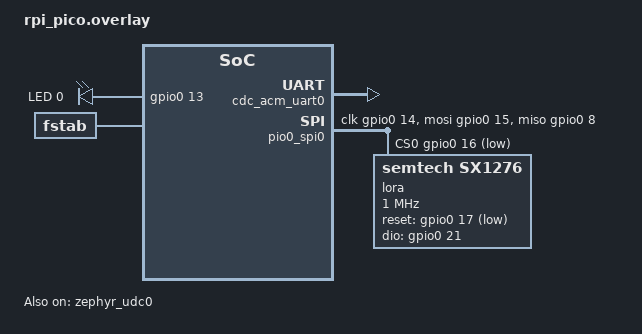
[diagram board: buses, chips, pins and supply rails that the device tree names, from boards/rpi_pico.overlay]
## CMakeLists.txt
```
cmake_minimum_required(VERSION 3.13.1)

find_package(Zephyr REQUIRED HINTS $ENV{ZEPHYR_BASE})
project(app)

target_include_directories(app PRIVATE ${ZEPHYR_BASE}/../modules/fs/littlefs)
target_include_directories(app PRIVATE ../modules/quanta-modbus)
FILE(GLOB_RECURSE app_sources src/*.c)
target_sources(app PRIVATE ${app_sources})

zephyr_cc_option(-Wfatal-errors)
zephyr_cc_option(-Wall)
```

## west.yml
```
manifest:
  remotes:
    - name: zephyrproject
      url-base: https://github.com/zephyrproject-rtos
  projects:
    - name: zephyr
      repo-path: zephyr
      remote: zephyrproject
      revision: main
      clone-depth: 1
      import:
        path-prefix: external
        name-allowlist:
          - cmsis
          - cmsis-dsp
          - picolibc
          - segger
          - hal_rpi_pico
          - loramac-node
          - littlefs
```

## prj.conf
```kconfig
# Debugging
CONFIG_THREAD_MONITOR=y
CONFIG_THREAD_STACK_INFO=y
CONFIG_THREAD_NAME=y

CONFIG_THREAD_ANALYZER=n
CONFIG_THREAD_ANALYZER_USE_LOG=y
CONFIG_THREAD_ANALYZER_AUTO=y
CONFIG_THREAD_ANALYZER_AUTO_INTERVAL=5

CONFIG_FS_LOG_LEVEL_ERR=y         # LittleFS
CONFIG_SETTINGS_LOG_LEVEL_ERR=y   # Settings
CONFIG_USB_DRIVER_LOG_LEVEL_ERR=y # USB Driver
CONFIG_LORA_LOG_LEVEL_ERR=y       # LoRa

# Logging
CONFIG_LOG=y

# USB
CONFIG_SERIAL=y
CONFIG_CONSOLE=y
CONFIG_UART_CONSOLE=y
CONFIG_UART_LINE_CTRL=y
CONFIG_USB_DEVICE_STACK=y

# USB - Identification
CONFIG_USB_DEVICE_PRODUCT="Entangler"
CONFIG_USB_DEVICE_VID=0x2E8A
CONFIG_USB_DEVICE_PID=0x0100

# Shell
CONFIG_SHELL=y
CONFIG_SHELL_MINIMAL=y
CONFIG_MINIMAL_LIBC_STRING_ERROR_TABLE=y
CONFIG_SHELL_PROMPT_UART=""
CONFIG_SHELL_HELP=y
CONFIG_GPIO_SHELL=y
CONFIG_LORA_SHELL=y
CONFIG_SETTINGS_SHELL=y
CONFIG_FILE_SYSTEM_SHELL=y

# Devices
CONFIG_GPIO=y
CONFIG_LORA=y
CONFIG_LED_STRIP=y
CONFIG_GNSS=y
CONFIG_GNSS_SATELLITES=y

# FS
CONFIG_FLASH=y
CONFIG_FLASH_MAP=y
CONFIG_FLASH_PAGE_LAYOUT=y
CONFIG_FILE_SYSTEM=y
CONFIG_FILE_SYSTEM_LITTLEFS=y

# Settings
CONFIG_SETTINGS=y
CONFIG_SETTINGS_RUNTIME=y
CONFIG_SETTINGS_FILE=y
CONFIG_SETTINGS_FILE_PATH="/lfs/settings"
```

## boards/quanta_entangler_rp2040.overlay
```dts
/ {
    chosen {
		zephyr,console = &cdc_acm_uart0;
		zephyr,shell-uart = &cdc_acm_uart0;
		zephyr,uart-mcumgr = &cdc_acm_uart0;
		zephyr,flash = &flash0;
    };

	/* Set up LittleFS */
    fstab {
        compatible = "zephyr,fstab";
        lfs: lfs {
            compatible = "zephyr,fstab,littlefs";
            mount-point = "/lfs";
            partition = <&storage_partition>;
            automount;
            read-size = <16>;
            prog-size = <16>;
            cache-size = <64>;
            lookahead-size = <64>;
            block-cycles = <512>;
        };
    };
};

/* Enable the neopixel */
&ws2812 {
    status = "okay";
};

/* Enable the RFM95 */
&lora0 {
    status = "okay";
};

/* Enable the gnss */
&uart0 {
	status = "okay";
};
&gnss_module {
	status = "okay";
};

/* Enable the USB port for logging */
&zephyr_udc0 {
    status = "okay";
    cdc_acm_uart0: cdc_acm_uart0 {
		compatible = "zephyr,cdc-acm-uart";
		label = "CDC_ACM_0";
	};
};

/* Add storage partition*/
&flash0 {
	reg = <0x10000000 DT_SIZE_M(2)>;

	partitions {
		compatible = "fixed-partitions";
		#address-cells = <1>;
		#size-cells = <1>;

		/* Reserved memory for the second stage bootloader */
		second_stage_bootloader: partition@0 {
			label = "second_stage_bootloader";
			reg = <0x00000000 0x100>;
			read-only;
		};

		/* Reserved 1.5 MB for code */
		code_partition: partition@100 {
			label = "code-partition";
			reg = <0x100 (DT_SIZE_M(1) + DT_SIZE_K(512) - 0x100)>;
			read-only;
		};

		/* Reserved 0.5 MB for storage */
		storage_partition: storage_partition@180000 {
			label = "storage-partition";
			reg = <(DT_SIZE_M(1) + DT_SIZE_K(512)) (DT_SIZE_K(512))>;
		};
	};
};
```

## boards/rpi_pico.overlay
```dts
#include <zephyr/dt-bindings/led/led.h>

/ {
	chosen {
		zephyr,console = &cdc_acm_uart0;
		zephyr,shell-uart = &cdc_acm_uart0;
		zephyr,uart-mcumgr = &cdc_acm_uart0;
		zephyr,flash = &flash0;
	};

	aliases {
		lora0 = &lora;
		led-strip = &ws2812;
		led0 = &led0;
	};

	leds {
		compatible = "gpio-leds";
		led0: led_0 {
			gpios = <&gpio0 13 GPIO_ACTIVE_HIGH>;
			label = "LED 0";
		};
	};

	fstab {
        compatible = "zephyr,fstab";
        lfs: lfs {
            compatible = "zephyr,fstab,littlefs";
            mount-point = "/lfs";
            partition = <&storage_partition>;
            automount;
            read-size = <16>;
            prog-size = <16>;
            cache-size = <64>;
            lookahead-size = <64>;
            block-cycles = <512>;
            no-format;
        };
    };
};

&zephyr_udc0 {
	status = "okay";
	cdc_acm_uart0: cdc_acm_uart0 {
		compatible = "zephyr,cdc-acm-uart";
		label = "CDC_ACM_0";
	};
};

&pinctrl {
	pio_lora_spi: pio_lora_spi {
		group1 {
			pinmux = <PIO0_P14>, <PIO0_P15>;	
		};
		group2 {
			pinmux = <PIO0_P8>;
			input-enable;	
		};
	};
	ws2812_pio0_default: ws2812_pio0_default {
		ws2812 {
			pinmux = <PIO0_P4>;
		};
	};
};

&pio0 {
	status = "okay";

	pio0_spi0: pio0_spi0 {
		compatible = "raspberrypi,pico-spi-pio";
		status = "okay";
		pinctrl-0 = <&pio_lora_spi>;
		pinctrl-names = "default";

		#address-cells = <1>;
		#size-cells = <0>;
		clocks = <&clocks RPI_PICO_CLKID_CLK_SYS>;
		miso-gpios = <&gpio0 8 0>;
		clk-gpios = <&gpio0 14 GPIO_ACTIVE_HIGH>;
		mosi-gpios = <&gpio0 15 GPIO_ACTIVE_HIGH>;
		cs-gpios = <&gpio0 16 GPIO_ACTIVE_LOW>;

		lora: lora@0 {
			compatible = "semtech,sx1276";
			reg = <0>;
			reset-gpios = <&gpio0 17 GPIO_ACTIVE_LOW>;
			dio-gpios = <&gpio0 21 (GPIO_PULL_DOWN | GPIO_ACTIVE_HIGH)>;
			spi-max-frequency = <1000000>;
			power-amplifier-output = "pa-boost";
		};
	};

	pio-ws2812 {
		compatible = "worldsemi,ws2812-rpi_pico-pio";
		status = "okay";
		pinctrl-0 = <&ws2812_pio0_default>;
		pinctrl-names = "default";
		bit-waveform = <3>, <3>, <4>;

		ws2812: ws2812 {
			status = "okay";
			gpios = <&gpio0 4 GPIO_ACTIVE_HIGH>;
			chain-length = <1>;
			color-mapping = <LED_COLOR_ID_GREEN LED_COLOR_ID_RED LED_COLOR_ID_BLUE>;
			reset-delay = <280>;
			frequency = <800000>;
		};
	};
};

&flash0 {
	reg = <0x10000000 DT_SIZE_M(2)>;

	partitions {
		compatible = "fixed-partitions";
		#address-cells = <1>;
		#size-cells = <1>;

		/* Reserved memory for the second stage bootloader */
		second_stage_bootloader: partition@0 {
			label = "second_stage_bootloader";
			reg = <0x00000000 0x100>;
			read-only;
		};

		code_partition: partition@100 {
			label = "code-partition";
			reg = <0x100 (DT_SIZE_M(1)-0x100)>;
			read-only;
		};

		storage_partition: storage_partition@100000 {
			label = "storage-partition";
			reg = <DT_SIZE_M(1) (DT_SIZE_M(1))>;
		};
	};
};
```

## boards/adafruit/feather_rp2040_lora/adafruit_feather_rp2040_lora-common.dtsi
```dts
#include <freq.h>

#include <raspberrypi/rpi_pico/rp2040.dtsi>
#include "adafruit_feather_rp2040_lora-pinctrl.dtsi"
#include <zephyr/dt-bindings/pwm/pwm.h>

#include <zephyr/dt-bindings/i2c/i2c.h>


/ {
    chosen {
        zephyr,sram = &sram0;
        zephyr,flash = &flash0;
        zephyr,flash-controller = &ssi;
        zephyr,console = &uart0;
        zephyr,shell-uart = &uart0;
        zephyr,code-partition = &code_partition;
    };

    aliases {
        rtc = &rtc;
        watchdog0 = &wdt0;
    };
};

&flash0 {
    reg = <0x10000000 DT_SIZE_M(2)>;

    partitions {
        compatible = "fixed-partitions";
        #address-cells = <1>;
        #size-cells = <1>;

        /* Reserved memory for the second stage bootloader */
        second_stage_bootloader: partition@0 {
            label = "second_stage_bootloader";
            reg = <0x00000000 0x100>;
            read-only;
        };

        /*
        * Usable flash. Starts at 0x100, after the bootloader. The partition
        * size is 2MB minus the 0x100 bytes taken by the bootloader.
        */
        code_partition: partition@100 {
            label = "code-partition";
            reg = <0x100 (DT_SIZE_M(2) - 0x100)>;
            read-only;
        };
    };
};

&uart0 {
    current-speed = <115200>;
    status = "okay";
    pinctrl-0 = <&uart0_default>;
    pinctrl-names = "default";
};

&gpio0 {
    status = "okay";
};

&i2c0 {
    clock-frequency = <I2C_BITRATE_STANDARD>;
    status = "okay";
    pinctrl-0 = <&i2c0_default>;
    pinctrl-names = "default";
};

&i2c1 {
    pinctrl-0 = <&i2c1_default>;
    pinctrl-names = "default";
    status = "disabled";
    clock-frequency = <I2C_BITRATE_FAST>;
};

&spi0 {
    clock-frequency = <DT_FREQ_M(8)>;
    status = "okay";
    pinctrl-0 = <&spi0_default>;
    pinctrl-names = "default";
};

&timer {
    status = "okay";
};

&wdt0 {
    status = "okay";
};

&rtc {
    clocks = <&clocks RPI_PICO_CLKID_CLK_RTC>;
    status = "okay";
};

&adc {
    status = "okay";
    pinctrl-0 = <&adc_default>;
    pinctrl-names = "default";
};

zephyr_udc0: &usbd {
    status = "okay";
};

&pwm {
    pinctrl-0 = <&pwm_ch4b_default>;
    pinctrl-names = "default";
};

&vreg {
    regulator-always-on;
    regulator-allowed-modes = <REGULATOR_RPI_PICO_MODE_NORMAL>;
};

pico_spi: &spi0 {};
pico_i2c0: &i2c0 {};
pico_i2c1: &i2c1 {};
pico_serial: &uart0 {};
```

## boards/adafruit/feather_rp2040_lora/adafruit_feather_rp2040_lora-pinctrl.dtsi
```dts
#include <zephyr/dt-bindings/pinctrl/rpi-pico-rp2040-pinctrl.h>

&pinctrl {
	uart0_default: uart0_default {
		group1 {
			pinmux = <UART0_TX_P0>;
		};
		group2 {
			pinmux = <UART0_RX_P1>;
			input-enable;
		};
	};

	i2c0_default: i2c0_default {
		group1 {
			pinmux = <I2C0_SDA_P4>, <I2C0_SCL_P5>;
			input-enable;
			input-schmitt-enable;
		};
	};

	i2c1_default: i2c1_default {
		group1 {
			pinmux = <I2C1_SDA_P6>, <I2C1_SCL_P7>;
			input-enable;
			input-schmitt-enable;
		};
	};

	spi0_default: spi0_default {
		group1 {
			pinmux = <SPI0_CSN_P17>, <SPI0_SCK_P18>, <SPI0_TX_P19>;
		};
		group2 {
			pinmux = <SPI0_RX_P16>;
			input-enable;
		};
	};

	pwm_ch4b_default: pwm_ch4b_default {
		group1 {
			pinmux = <PWM_4B_P25>;
		};
	};

	adc_default: adc_default {
		group1 {
			pinmux = <ADC_CH0_P26>, <ADC_CH1_P27>, <ADC_CH2_P28>, <ADC_CH3_P29>;
			input-enable;
		};
	};
};
```

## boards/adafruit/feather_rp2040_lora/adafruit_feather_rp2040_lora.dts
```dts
/dts-v1/;

#include <freq.h>

#include <raspberrypi/rpi_pico/rp2040.dtsi>
#include "adafruit_feather_rp2040_lora-pinctrl.dtsi"

#include <zephyr/dt-bindings/pwm/pwm.h>
#include <zephyr/dt-bindings/i2c/i2c.h>
#include <zephyr/dt-bindings/led/led.h>

/ {
	chosen {
		zephyr,sram = &sram0;
		zephyr,flash = &flash0;
		zephyr,flash-controller = &ssi;
		zephyr,console = &uart0;
		zephyr,shell-uart = &uart0;
		zephyr,code-partition = &code_partition;
	};

	leds {
		compatible = "gpio-leds";
		led0: led_0 {
			gpios = <&gpio0 13 GPIO_ACTIVE_HIGH>;
			label = "LED 0";
		};
	};

	aliases {
		rtc = &rtc;
		watchdog0 = &wdt0;

		led0 = &led0;
		led-strip = &ws2812;
		lora0 = &lora0;
	};

	/* TODO Add stemma-qt-connector */
};

&flash0 {
	reg = <0x10000000 DT_SIZE_M(2)>;

	partitions {
		compatible = "fixed-partitions";
		#address-cells = <1>;
		#size-cells = <1>;

		second_stage_bootloader: partition@0 {
			label = "second_stage_bootloader";
			reg = <0x00000000 0x100>;
			read-only;
		};

		code_partition: partition@100 {
			label = "code-partition";
			reg = <0x100 (DT_SIZE_M(2) - 0x100)>;
			read-only;
		};
	};
};

&uart0 {
	current-speed = <115200>;
	status = "okay";
	pinctrl-0 = <&uart0_default>;
	pinctrl-names = "default";
};

&gpio0 {
	status = "okay";
};

&i2c1 {
	pinctrl-0 = <&i2c1_default>;
	pinctrl-names = "default";
	status = "disabled";
	clock-frequency = <I2C_BITRATE_FAST>;
};

&spi0 {
	clock-frequency = <DT_FREQ_M(8)>;
	status = "okay";
	pinctrl-0 = <&spi0_default>;
	pinctrl-names = "default";
};

&timer {
	status = "okay";
};

&wdt0 {
	status = "okay";
};

&rtc {
	clocks = <&clocks RPI_PICO_CLKID_CLK_RTC>;
	status = "okay";
};

&adc {
	status = "okay";
	pinctrl-0 = <&adc_default>;
	pinctrl-names = "default";
};

zephyr_udc0: &usbd {
	status = "okay";
};

&vreg {
	regulator-always-on;
	regulator-allowed-modes = <REGULATOR_RPI_PICO_MODE_NORMAL>;
};

&pio0 {
	status = "okay";

	pio0_spi1: pio0_spi1 {
		compatible = "raspberrypi,pico-spi-pio";
		status = "okay";
		pinctrl-0 = <&spi1_default>;
		pinctrl-names = "default";

		#address-cells = <1>;
		#size-cells = <0>;
		clocks = <&clocks RPI_PICO_CLKID_CLK_SYS>;
		miso-gpios = <&gpio0 8 0>;
		clk-gpios = <&gpio0 14 GPIO_ACTIVE_HIGH>;
		mosi-gpios = <&gpio0 15 GPIO_ACTIVE_HIGH>;
		cs-gpios = <&gpio0 16 GPIO_ACTIVE_LOW>;

		lora0: lora0@0 {
			compatible = "semtech,sx1276";
			status = "disabled";
			reg = <0>;
			reset-gpios = <&gpio0 17 GPIO_ACTIVE_LOW>;
			dio-gpios = <&gpio0 21 (GPIO_PULL_DOWN | GPIO_ACTIVE_HIGH)>;
			spi-max-frequency = <1000000>;
			power-amplifier-output = "pa-boost";
		};
	};

	pio-ws2812 {
		compatible = "worldsemi,ws2812-rpi_pico-pio";
		status = "okay";
		pinctrl-0 = <&ws2812_default>;
		pinctrl-names = "default";
		bit-waveform = <3>, <3>, <4>;

		ws2812: ws2812 {
			status = "disabled";
			gpios = <&gpio0 4 GPIO_ACTIVE_HIGH>;
			chain-length = <1>;
			color-mapping = <LED_COLOR_ID_GREEN LED_COLOR_ID_RED LED_COLOR_ID_BLUE>;
			reset-delay = <280>;
			frequency = <800000>;
		};
	};
};
```

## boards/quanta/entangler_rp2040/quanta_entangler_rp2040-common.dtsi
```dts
#include <freq.h>

#include <raspberrypi/rpi_pico/rp2040.dtsi>
#include "quanta_entangler_rp2040-pinctrl.dtsi"
#include <zephyr/dt-bindings/pwm/pwm.h>

#include <zephyr/dt-bindings/i2c/i2c.h>

/ {
	chosen {
		zephyr,sram = &sram0;
		zephyr,flash = &flash0;
		zephyr,flash-controller = &ssi;
		zephyr,console = &uart0;
		zephyr,shell-uart = &uart0;
		zephyr,code-partition = &code_partition;
	};

	aliases {
		rtc = &rtc;
		watchdog0 = &wdt0;
	};
};

&flash0 {
	reg = <0x10000000 DT_SIZE_M(2)>;

	partitions {
		compatible = "fixed-partitions";
		#address-cells = <1>;
		#size-cells = <1>;

		second_stage_bootloader: partition@0 {
			label = "second_stage_bootloader";
			reg = <0x00000000 0x100>;
			read-only;
		};

		code_partition: partition@100 {
			label = "code-partition";
			reg = <0x100 (DT_SIZE_M(2) - 0x100)>;
			read-only;
		};

		storage_partition: storage_partition@100000 {
			label = "storage-partition";
			reg = <DT_SIZE_M(1) (DT_SIZE_M(1))>;
		};
	};
};

&uart0 {
	current-speed = <115200>;
	status = "okay";
	pinctrl-0 = <&uart0_default>;
	pinctrl-names = "default";
};

&gpio0 {
	status = "okay";
};

&i2c0 {
	clock-frequency = <I2C_BITRATE_STANDARD>;
	status = "okay";
	pinctrl-0 = <&i2c0_default>;
	pinctrl-names = "default";
};

&i2c1 {
	pinctrl-0 = <&i2c1_default>;
	pinctrl-names = "default";
	status = "disabled";
	clock-frequency = <I2C_BITRATE_FAST>;
};

&spi0 {
	clock-frequency = <DT_FREQ_M(8)>;
	status = "okay";
	pinctrl-0 = <&spi0_default>;
	pinctrl-names = "default";
};

&timer {
	status = "okay";
};

&wdt0 {
	status = "okay";
};

&rtc {
	clocks = <&clocks RPI_PICO_CLKID_CLK_RTC>;
	status = "okay";
};

&adc {
	status = "okay";
	pinctrl-0 = <&adc_default>;
	pinctrl-names = "default";
};

zephyr_udc0: &usbd {
	status = "okay";
};

&pwm {
	pinctrl-0 = <&pwm_ch4b_default>;
	pinctrl-names = "default";
};

&vreg {
	regulator-always-on;
	regulator-allowed-modes = <REGULATOR_RPI_PICO_MODE_NORMAL>;
};

pico_spi: &spi0 {};
pico_i2c0: &i2c0 {};
pico_i2c1: &i2c1 {};
pico_serial: &uart0 {};
```

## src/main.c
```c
#include <zephyr/drivers/uart.h>
#include <zephyr/kernel.h>
#include <zephyr/settings/settings.h>
#include <zephyr/usb/usb_device.h>

#include "shell/shell.h"

#include <quanta_modbus.h>

#include <zephyr/logging/log.h>
LOG_MODULE_REGISTER(main, CONFIG_LOG_MAX_LEVEL);

int main(void)
{
	/* Enable Logging */
	const struct device *const dev = DEVICE_DT_GET(DT_CHOSEN(zephyr_console));
	uint32_t dtr = 0;

	if (usb_enable(NULL)) {
		return 0;
	}

	/* Poll if the DTR flag was set */
	while (!dtr) {
		uart_line_ctrl_get(dev, UART_LINE_CTRL_DTR, &dtr);
		// Give CPU resources to low priority threads.
		k_sleep(K_MSEC(100));
	}

	return 0;
}
```

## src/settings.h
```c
#pragma once
#include <inttypes.h>
#include <stdbool.h>

#define SETTINGS_PATH "settings"

typedef struct {
	uint32_t freq;
	bool tx_enable;
	char callsign[6];
	bool heartbeat_enable;
	uint8_t hearbeat_frequency;
} settings_lora_t;
#define SETTINGS_KEY_LORA "lora"
#define SETTINGS_LORA     (SETTINGS_PATH "/" SETTINGS_KEY_LORA)
```
